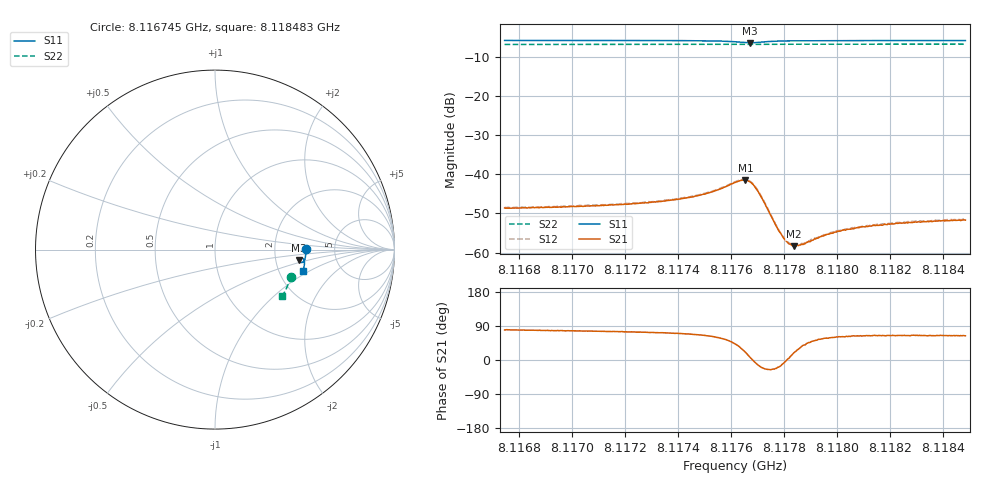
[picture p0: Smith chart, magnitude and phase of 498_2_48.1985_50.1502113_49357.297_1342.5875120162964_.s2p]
#  HZ  S  RI  R  50.00
! Rohde & Schwarz Vector Network Analyzer
! Rohde-Schwarz,ZNB20-2Port,1311601062101988,3.16
! Created: UTC 3/20/2024, 11:58:21 AM
! freq[Hz]  re:S11  im:S11  re:S21  im:S21  re:S12  im:S12  re:S22  im:S22
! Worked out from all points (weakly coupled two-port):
!   401 points, 8.116745 GHz to 8.118483 GHz, reference 50 ohm
!   highest |S21| = -41.47 dB at 8.117653 GHz (marker M1); lowest = -58.3 dB at 8.117835 GHz (marker M2)
!   lowest |S11| = -6.5 dB at 8.11767 GHz (marker M3), VSWR 2.79, Z = 136 - j20.4 ohm
!   |S11| at or under -10 dB: nowhere
!   |S22| runs from -6.9 to -6.8 dB; largest |S21 - S12| = 0.00022
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8.1167447e9  0.5068 0.0035  0.000693 0.00365  0.000704 0.0037  0.4243 -0.1515
8.1170358e9  0.5059 -0.0191  0.000918 0.00381  0.000952 0.00387  0.4179 -0.1706
8.117327e9  0.5033 -0.0432  0.00139 0.00426  0.00145 0.00435  0.4105 -0.1896
8.117479e9  0.4995 -0.058  0.00218 0.00492  0.00222 0.00502  0.4061 -0.1996
8.1175442e9  0.4949 -0.0658  0.00314 0.0054  0.00323 0.00552  0.4043 -0.2039
8.1176137e9  0.4823 -0.0723  0.00577 0.00533  0.00593 0.00539  0.4016 -0.2081
8.1176529e9  0.4706 -0.0657  0.0079 0.00299  0.00809 0.00297  0.4 -0.21
8.1176702e9  0.4689 -0.0583  0.00793 0.00101  0.00809 0.00103  0.3994 -0.2106
8.1176876e9  0.4719 -0.0512  0.00696 -0.00063  0.0071 -0.000704  0.3991 -0.2115
8.117705e9  0.4779 -0.0473  0.00549 -0.00153  0.00565 -0.00159  0.399 -0.2125
8.1177702e9  0.4938 -0.053  0.002 -0.000811  0.00205 -0.000827  0.3978 -0.2168
8.1177875e9  0.4955 -0.0558  0.00168 -0.000441  0.00171 -0.000449  0.3975 -0.218
8.1178093e9  0.497 -0.059  0.00138 -3.55e-06  0.00142 -1.37e-05  0.3967 -0.2196
8.1178353e9  0.498 -0.0626  0.00115 0.000385  0.00116 0.000371  0.3959 -0.2212
8.1178658e9  0.4985 -0.0664  0.00103 0.00076  0.00106 0.000788  0.3948 -0.2231
8.1179049e9  0.4989 -0.0708  0.000933 0.00109  0.00101 0.00111  0.3936 -0.2256
8.1179614e9  0.4986 -0.0764  0.000916 0.00145  0.000944 0.00145  0.3919 -0.2292
8.1180265e9  0.4979 -0.0824  0.000946 0.00171  0.00095 0.00175  0.3897 -0.2331
8.1181047e9  0.4972 -0.0892  0.000943 0.00191  0.000957 0.00196  0.3871 -0.238
8.118196e9  0.4959 -0.0965  0.000975 0.00209  0.000984 0.00214  0.3839 -0.2436
8.1182872e9  0.4944 -0.1038  0.00102 0.00222  0.00107 0.00226  0.3805 -0.2492
8.1184828e9  0.491 -0.1187  0.00115 0.00234  0.00118 0.00237  0.3735 -0.261
